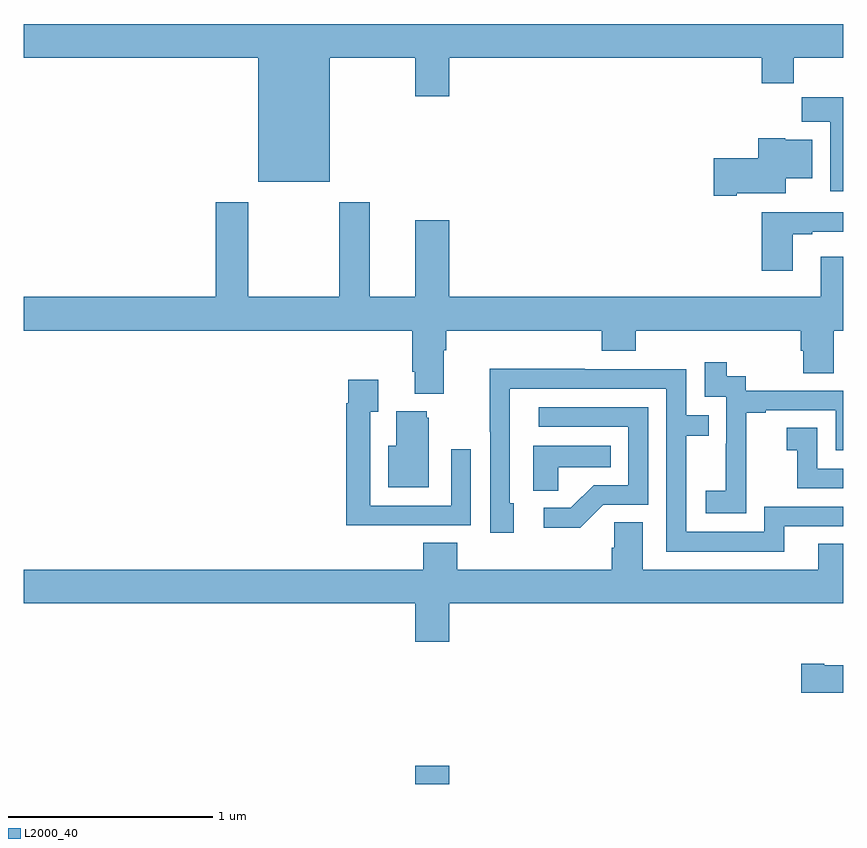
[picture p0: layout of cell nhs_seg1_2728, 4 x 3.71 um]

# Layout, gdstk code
import gdstk
lib = gdstk.Library(unit=1e-6, precision=1e-09)
def R(c, l, rs):  # rectangles x0, y0, x1, y1
    for r in rs: c.add(gdstk.rectangle(r[:2], r[2:], *l))
def P(c, l, *ps):  # polygons
    for p in ps: c.add(gdstk.Polygon(p, *l))
L2000_40 = (2000, 40)

nhs_seg1_2728 = lib.new_cell('nhs_seg1_2728')
R(nhs_seg1_2728, L2000_40, [(260.912,536.199,261.076,536.287)])
P(nhs_seg1_2728, L2000_40, [(260.494,539.744),(260.912,539.744),(260.912,539.556),(261.076,539.556),(261.076,539.744),(262.601,539.744),(262.601,539.62),(262.757,539.62),(262.757,539.744),(263,539.744),(263,539.908),(259,539.908),(259,539.744),(260.144,539.744),(260.144,539.138),(260.494,539.138)],
  [(263,539.551),(262.798,539.551),(262.798,539.432),(262.937,539.432),(262.937,539.091),(263,539.091)],
  [(262.48,539.081),(262.72,539.081),(262.72,539.156),(262.849,539.156),(262.849,539.344),(262.716,539.344),(262.716,539.35),(262.586,539.35),(262.586,539.252),(262.368,539.252),(262.368,539.069),(262.48,539.069)],
  [(260.897,538.21),(260.909,538.21),(260.909,538.103),(261.049,538.103),(261.049,538.316),(261.062,538.316),(261.062,538.412),(261.821,538.412),(261.821,538.313),(261.986,538.313),(261.986,538.412),(262.793,538.412),(262.793,538.314),(262.805,538.314),(262.805,538.204),(262.953,538.204),(262.953,538.412),(263,538.412),(263,538.771),(262.889,538.771),(262.889,538.576),(261.076,538.576),(261.076,538.951),(260.912,538.951),(260.912,538.576),(260.689,538.576),(260.689,539.038),(260.541,539.038),(260.541,538.576),(260.097,538.576),(260.097,539.038),(259.937,539.038),(259.937,538.576),(259,538.576),(259,538.412),(260.897,538.412)],
  [(262.753,538.881),(262.849,538.881),(262.849,538.893),(263,538.893),(263,538.989),(262.601,538.989),(262.601,538.704),(262.753,538.704)],
  [(262.527,537.727),(262.526,537.727),(262.526,538.011),(262.621,538.011),(262.621,538.023),(262.962,538.023),(262.962,537.828),(263,537.828),(263,538.119),(262.524,538.119),(262.524,538.188),(262.432,538.188),(262.432,538.258),(262.323,538.258),(262.323,538.089),(262.428,538.089),(262.428,537.86),(262.427,537.86),(262.427,537.631),(262.329,537.631),(262.329,537.521),(262.527,537.521)],
  [(262.711,537.456),(263,537.456),(263,537.552),(262.614,537.552),(262.614,537.429),(262.233,537.429),(262.233,537.898),(262.343,537.898),(262.343,537.999),(262.233,537.999),(262.233,538.224),(261.737,538.224),(261.737,538.226),(261.274,538.226),(261.274,537.919),(261.276,537.919),(261.276,537.426),(261.391,537.426),(261.391,537.57),(261.372,537.57),(261.372,538.128),(262.137,538.128),(262.137,537.333),(262.711,537.333)],
  [(260.867,537.462),(261.183,537.462),(261.183,537.832),(261.087,537.832),(261.087,537.558),(260.691,537.558),(260.691,538.015),(260.731,538.015),(260.731,538.171),(260.583,538.171),(260.583,538.058),(260.575,538.058),(260.575,537.461),(260.867,537.461)],
  [(261.828,537.561),(262.047,537.561),(262.047,538.038),(261.513,538.038),(261.513,537.942),(261.951,537.942),(261.951,537.657),(261.782,537.657),(261.671,537.546),(261.537,537.546),(261.537,537.449),(261.715,537.449)],
  [(260.977,537.987),(260.966,537.987),(260.966,538.018),(260.819,538.018),(260.819,537.85),(260.78,537.85),(260.78,537.647),(260.977,537.647)],
  [(263,537.738),(262.872,537.738),(262.872,537.937),(262.725,537.937),(262.725,537.827),(262.774,537.827),(262.774,537.642),(263,537.642)],
  [(261.609,537.746),(261.866,537.746),(261.866,537.85),(261.488,537.85),(261.488,537.631),(261.609,537.631)],
  [(261.076,537.08),(263,537.08),(263,537.371),(262.877,537.371),(262.877,537.244),(262.021,537.244),(262.021,537.476),(261.882,537.476),(261.882,537.353),(261.869,537.353),(261.869,537.244),(261.116,537.244),(261.116,537.377),(260.951,537.377),(260.951,537.244),(259,537.244),(259,537.08),(260.912,537.08),(260.912,536.892),(261.076,536.892)],
  [(263,536.779),(262.906,536.779),(262.906,536.787),(262.794,536.787),(262.794,536.645),(263,536.645)])

lib.write_gds('nhs_seg1_2728.gds')
